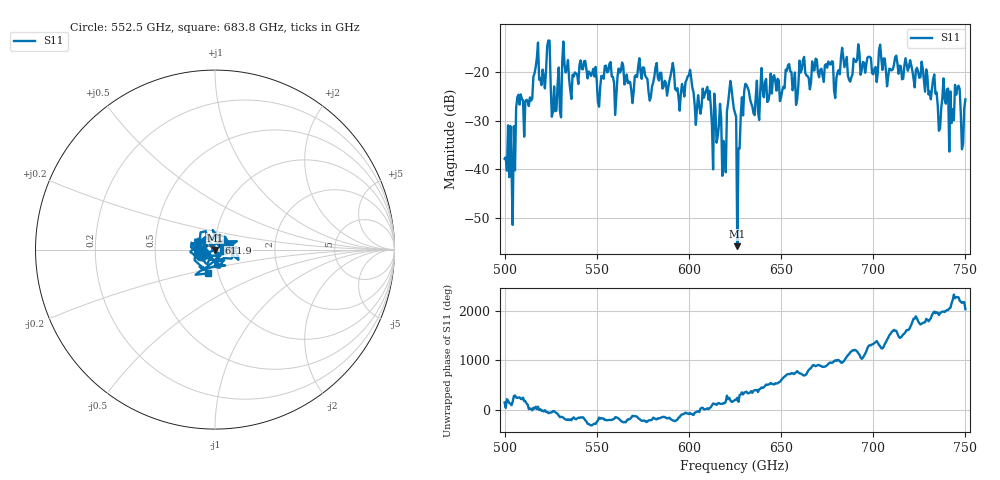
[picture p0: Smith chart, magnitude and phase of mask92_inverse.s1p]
!Created with skrf (http://scikit-rf.org).
# GHz S MA R 50.0
!freq magS11 angS11
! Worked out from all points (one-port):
!   401 points, 500 GHz to 750 GHz, reference 50 ohm
!   lowest |S11| = -55.8 dB at 626.2 GHz (marker M1), VSWR 1.00, Z = 49.9 - j0.152 ohm
!   |S11| at or under -10 dB: start of sweep to end of sweep
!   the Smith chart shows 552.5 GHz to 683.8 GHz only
!   S11 on the Smith chart (normalised r, x): 552.5 GHz: 0.84, -0.06; 611.9 GHz: 1.04, +0.08; 683.8 GHz: 0.89, -0.24
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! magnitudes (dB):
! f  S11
! 500 GHz  -37.8
! 504.4 GHz  -51.4
! 507.5 GHz  -24.7
! 511.9 GHz  -25.7
! 516.9 GHz  -19.0
! 523.8 GHz  -13.5
! 526.9 GHz  -23.0
! 531.2 GHz  -18.1
! 552.5 GHz  -20.8
! 562.5 GHz  -20.1
! 593.8 GHz  -23.3
! 600 GHz  -20.7
! 611.9 GHz  -27.1
! 619.4 GHz  -35.7
! 622.5 GHz  -21.8
! 625 GHz  -28.4
! 626.2 GHz  -55.8
! 631.2 GHz  -22.7
! 634.4 GHz  -27.1
! 656.2 GHz  -23.8
! 683.8 GHz  -17.1
! 687.5 GHz  -22.0
! 718.8 GHz  -19.8
! 736.2 GHz  -31.6
! 739.4 GHz  -26.5
! 742.5 GHz  -30.5
! 745.6 GHz  -23.4
! 750 GHz  -25.6
